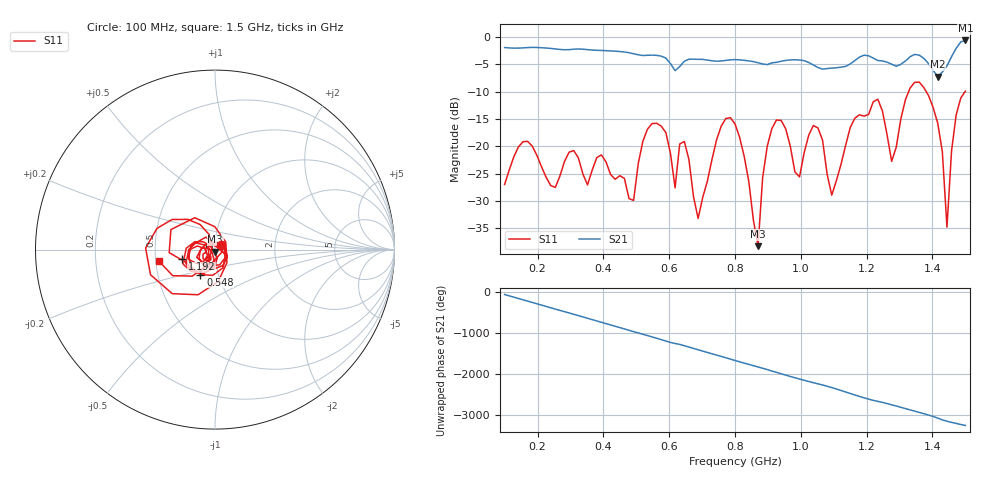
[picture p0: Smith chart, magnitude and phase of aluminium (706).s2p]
! NanoVNA-App
! Date: 2025-09-25 15:00:46
! Start: 100MHz Stop: 1,5GHz Points: 101
! S-Parameter data: F S11 S21 S12 S22
# Hz S RI R 50
!  Frequency  S11_Real  S11_Imag  S21_Real  S21_Imag  S12_Real  S12_Imag  S22_Real  S22_Imag
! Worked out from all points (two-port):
!   101 points, 100 MHz to 1.5 GHz, reference 50 ohm
!   highest |S21| = -0.62 dB at 1.5 GHz (marker M1); lowest = -7.2 dB at 1.416 GHz (marker M2)
!   |S21| within 3 dB of the highest: start of sweep to 581.2 MHz; 1.458 GHz to end of sweep (the widest 2 of 4)
!   lowest |S11| = -38.2 dB at 870 MHz (marker M3), VSWR 1.02, Z = 50 - j1.22 ohm
!   |S11| at or under -10 dB: start of sweep to 1.327 GHz; 1.381 GHz to 1.499 GHz (117.6 MHz wide, 8.17 % of centre)
!   S12 and S22 are empty: the file has one direction only
!   S11 on the Smith chart (normalised r, x): 100 MHz: 1.07, +0.06; 548 MHz: 0.82, -0.23; 1.192 GHz: 0.69, -0.08; 1.5 GHz: 0.52, -0.07
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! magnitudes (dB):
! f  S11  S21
! 100 MHz  -27.0  -1.9
! 156 MHz  -19.1  -2.0
! 338 MHz  -25.1  -2.2
! 492 MHz  -29.9  -3.1
! 548 MHz  -15.8  -3.3
! 576 MHz  -16.3  -3.5
! 618 MHz  -27.6  -6.1
! 646 MHz  -19.1  -4.4
! 688 MHz  -33.2  -4.1
! 800 MHz  -15.9  -4.1
! 870 MHz  -38.2  -4.7
! 912 MHz  -16.7  -4.7
! 996 MHz  -25.6  -4.2
! 1.038 GHz  -16.2  -5.1
! 1.094 GHz  -28.9  -5.7
! 1.192 GHz  -14.5  -3.3
! 1.276 GHz  -22.7  -5.0
! 1.346 GHz  -8.3  -3.2
! 1.416 GHz  -15.8  -7.2
! 1.444 GHz  -34.8  -5.3
! 1.472 GHz  -14.2  -2.1
! 1.5 GHz  -9.9  -0.6
